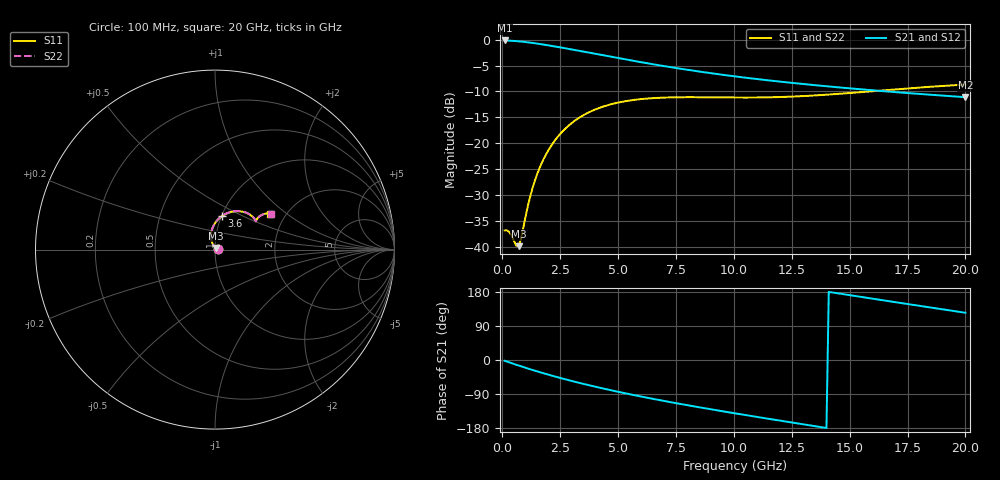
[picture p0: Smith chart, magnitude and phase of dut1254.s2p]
! Touchstone file exported from HFSS 2024.1.0
!  File:  C:/UserFiles/LocalFiles/RDL_TSV_Batchsim/temp_RDL_TSV_1254_1780270529.aedt
!  Generated:  07:55:39 AM Jun  1, 2026
!  Design:  RDL_TSV
!  Project:  temp_RDL_TSV_1254_1780270529
!  Setup:  Setup1
!  Solution:  Sweep
! Variables:
!  dtsv = 10.29um
!  hbump = 3um
!  htsv = 86.18um
!  ldown = 360.21um
!  lrdl = 556.79um
!  p = 40
!  p1 = 57.06um
!  rhole = 10um
!  subl = 3307.79um
!  t = 450um
!  tdown = 4.8um
!  trdl = 3.41um
!  viad = 10um
!  wdown = 25.61um
!  wrdl = 22.37um
!  xbump = 18um
# GHz S MA R 50.000000
! Terminal data exported
! Port[1] = TM1_1_T1
! Port[2] = TM1_4_T1
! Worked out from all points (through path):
!   200 points, 100 MHz to 20 GHz, reference 50 ohm
!   highest |S21| = -0.13 dB at 100 MHz (marker M1); lowest = -11.1 dB at 20 GHz (marker M2)
!   group delay of S21, straight-line fit = 30.7 ps
!   lowest |S11| = -39.9 dB at 700 MHz (marker M3), VSWR 1.02, Z = 50.5 + j0.895 ohm
!   |S11| at or under -10 dB: start of sweep to 15.83 GHz
!   |S22| runs from -39.9 to -8.7 dB; largest |S21 - S12| = 1.1e-14
!   S11 on the Smith chart (normalised r, x): 100 MHz: 1.03, +0.00; 3.6 GHz: 1.01, +0.39; 20 GHz: 1.67, +0.78
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0.1  0.01432 5.6  0.9851 -2.2  0.9851 -2.2  0.01432 5.6
! Gamma 0 0 0 0
! Port Impedance 50 0 50 0
0.3  0.01383 13.4  0.981 -6.4  0.981 -6.4  0.01383 13.4
0.6  0.01022 41.5  0.971 -12.5  0.971 -12.5  0.01021 41.6
0.7  0.01009 61.4  0.9667 -14.5  0.9667 -14.5  0.01009 61.7
0.8  0.01167 81.4  0.962 -16.5  0.962 -16.5  0.01168 81.6
1.1  0.02446 109.0  0.9454 -22.4  0.9454 -22.4  0.02453 109.1
1.3  0.03645 112.2  0.9327 -26.2  0.9327 -26.2  0.03656 112.3
1.5  0.04984 111.7  0.9192 -30.0  0.9192 -30.0  0.04998 111.8
1.8  0.07138 108.1  0.8976 -35.4  0.8976 -35.4  0.07158 108.1
2.1  0.0936 103.2  0.8751 -40.6  0.8751 -40.6  0.09385 103.2
2.5  0.1228 96.1  0.8446 -47.3  0.8446 -47.3  0.1231 96.2
3  0.1567 87.5  0.8065 -55.3  0.8065 -55.3  0.1571 87.5
3.5  0.1863 79.5  0.7693 -63.0  0.7693 -63.0  0.1868 79.5
3.6  0.1917 77.9  0.7619 -64.4  0.7619 -64.4  0.1922 78.0
5.2  0.252 58.1  0.6537 -86.5  0.6537 -86.5  0.2527 58.1
6.8  0.275 45.2  0.5655 -106.0  0.5655 -106.0  0.2758 45.3
8.4  0.2784 38.0  0.4968 -123.7  0.4968 -123.7  0.2793 38.0
10.1  0.2764 35.0  0.441 -141.3  0.441 -141.3  0.2773 35.0
11.7  0.2783 34.9  0.4002 -157.1  0.4002 -157.1  0.2791 34.9
13.4  0.2886 36.0  0.3658 -173.6  0.3658 -173.6  0.2893 36.0
16.7  0.328 36.5  0.3153 155.1  0.3153 155.1  0.3286 36.4
20  0.3684 33.1  0.2786 124.6  0.2786 124.6  0.369 33.0
